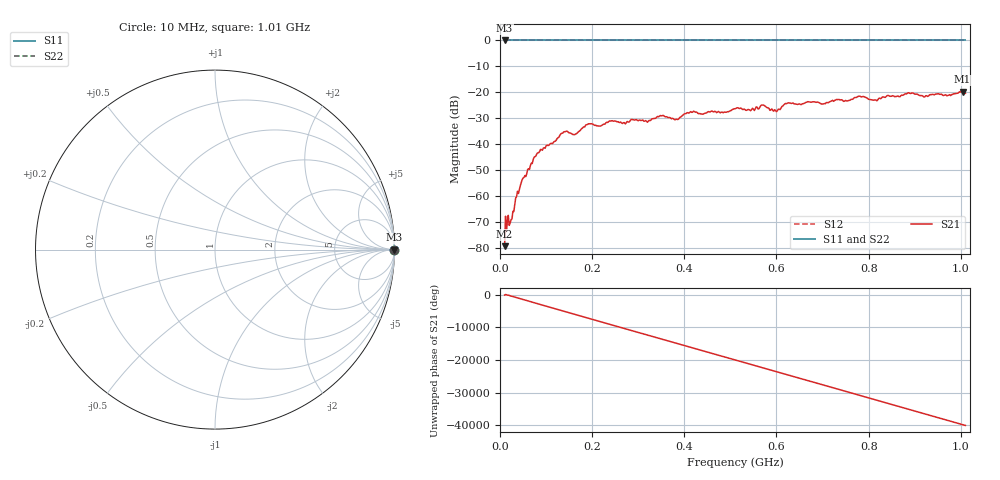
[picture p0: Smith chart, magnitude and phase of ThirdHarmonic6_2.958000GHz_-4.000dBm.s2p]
! 8/17/2025 8:20:13 AM
! C:\ANRITSUVNA\TEMP\TEMP.S2P
! CHANNEL.1
! TR.MEASUREMENT
! RAW.DATA
! RF.CORRECTION.OFF
! AVERAGING.OFF
! IF.BANDWIDTH: 5KHZ
! SWEEPTYPE:  FREQ.SWEEP(Linear)
! Reference Plane Port Info
! PORT:  PORT1  PORT2
! DISTANCE:  0  m  0  m
! TIME:  0  s  0  s
! PHASE.OFFSET:  0  deg.  0  deg.
! LOSS:  0  dB  0  dB
! REF.LOSS:  0  dB  0  dB
! REF.FREQ:  0  Hz  0  Hz
! Power Info
! POWER:  -20  dBm  -20  dBm
! EFF.POWER:  -20  dBm  -20  dBm
! SOURCE.ATTEN:  0  dB  0  dB
! TEST.ATTEN:  0  dB  0  dB
# GHZ S RI R 50.0
! FREQ.GHZ  S11RE  S11IM  S21RE  S21IM  S12RE  S12IM  S22RE  S22IM
!; PortSelection: Port_12
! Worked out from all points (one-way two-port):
!   501 points, 10 MHz to 1.01 GHz, reference 50 ohm
!   highest |S21| = -19.70 dB at 1.004 GHz (marker M1); lowest = -79.2 dB at 10 MHz (marker M2)
!   lowest |S11| = 0.0 dB at 10 MHz (marker M3)
!   |S11| at or under -10 dB: nowhere
!   |S22| runs from 0.0 to 0.0 dB; largest |S21 - S12| = 1.1
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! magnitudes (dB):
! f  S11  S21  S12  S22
! 10 MHz  0.0  -79.2  0.0  0.0
! 16 MHz  0.0  -69.6  0.0  0.0
! 24 MHz  0.0  -68.9  0.0  0.0
! 36 MHz  0.0  -60.1  0.0  0.0
! 48 MHz  0.0  -53.6  0.0  0.0
! 78 MHz  0.0  -44.4  0.0  0.0
! 136 MHz  0.0  -35.7  0.0  0.0
! 162 MHz  0.0  -36.3  0.0  0.0
! 178 MHz  0.0  -33.8  0.0  0.0
! 194 MHz  0.0  -32.1  0.0  0.0
! 322 MHz  0.0  -31.0  0.0  0.0
! 344 MHz  0.0  -29.4  0.0  0.0
! 382 MHz  0.0  -30.4  0.0  0.0
! 418 MHz  0.0  -27.6  0.0  0.0
! 510 MHz  0.0  -26.3  0.0  0.0
! 570 MHz  0.0  -24.9  0.0  0.0
! 598 MHz  0.0  -27.0  0.0  0.0
! 622 MHz  0.0  -24.3  0.0  0.0
! 678 MHz  0.0  -23.6  0.0  0.0
! 844 MHz  0.0  -21.3  0.0  0.0
! 1.004 GHz  0.0  -19.7  0.0  0.0
! 1.01 GHz  0.0  -20.3  0.0  0.0
